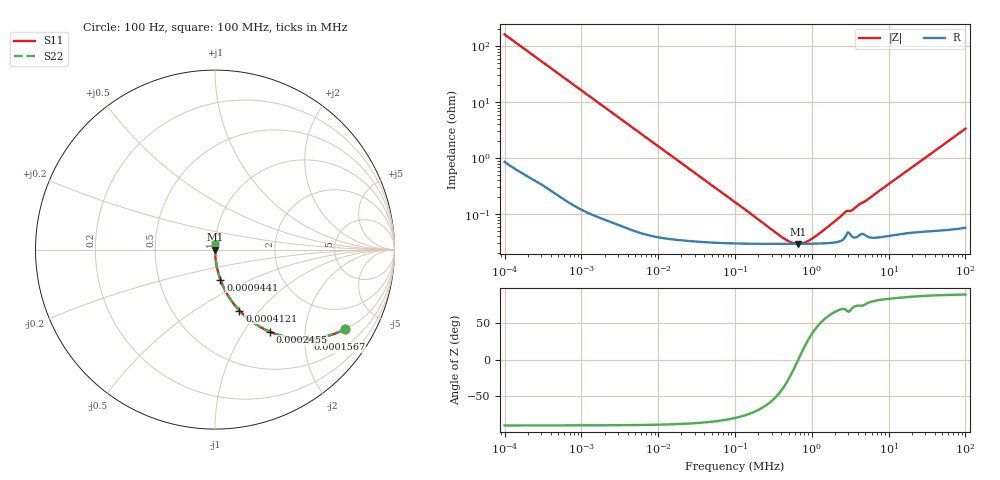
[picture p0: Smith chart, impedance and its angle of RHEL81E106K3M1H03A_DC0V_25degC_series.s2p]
!Murata Part Number: RHEL81E106K3M1H03A
!These Parameters are Measured in Series Mode Connection
!  o--ll--o
!Port1  Port2
!  o------o
!Operation Temp=25[degC], DC Bias Voltage=0[V]
!Freq. Start=100[Hz] Stop=100[MHz], 401[Steps]
!Data Generated on May 31, 2023
# Hz S RI R 50
!Freq.(Hz) S11(Real) S11(Imag) S21(Real) S21(Imag) S12(Real) S12(Imag) S22(Real) S22(Imag)
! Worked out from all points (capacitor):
!   401 points, 100 Hz to 100 MHz, reference 50 ohm
!   read as one part in series: C = 9.83 uF near 107.2 Hz
!   lowest |Z| = 29.5 mohm at 668.3 kHz (marker M1)
!   series resonance near 665.8 kHz, so ESL is about 5.8 nH
!   S11 on the Smith chart (normalised r, x): 100 Hz: 1.02, -3.24; 156.7 Hz: 1.01, -2.07; 245.5 Hz: 1.01, -1.32; 412.1 Hz: 1.01, -0.79; 944.1 Hz: 1.00, -0.35; 100 MHz: 1.00, +0.07
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100  0.7226 -0.4451  0.2774 0.4451  0.2774 0.4451  0.7226 -0.4451
156.6751  0.5167 -0.497  0.4833 0.497  0.4833 0.497  0.5167 -0.497
192.7525  0.4148 -0.4898  0.5852 0.4898  0.5852 0.4898  0.4148 -0.4898
245.4709  0.3052 -0.4575  0.6948 0.4575  0.6948 0.4575  0.3052 -0.4575
312.6079  0.214 -0.407  0.786 0.407  0.786 0.407  0.214 -0.407
412.0975  0.1363 -0.3399  0.8637 0.3399  0.8637 0.3399  0.1363 -0.3399
602.5596  0.0695 -0.251  0.9305 0.251  0.9305 0.251  0.0695 -0.251
944.0609  0.0301 -0.1673  0.9699 0.1673  0.9699 0.1673  0.0301 -0.1673
1011.579  0.0264 -0.1568  0.9736 0.1568  0.9736 0.1568  0.0264 -0.1568
2660.725  0.00445 -0.0612  0.9956 0.0612  0.9956 0.0612  0.00445 -0.0612
10232.93  0.000642 -0.0161  0.9994 0.0161  0.9994 0.0161  0.000642 -0.0161
100000  0.000303 -0.00162  0.9997 0.00162  0.9997 0.00162  0.000303 -0.00162
426579.5  0.000294 -0.00023  0.9997 0.00023  0.9997 0.00023  0.000294 -0.00023
543250.3  0.000295 -0.000102  0.9997 0.000102  0.9997 0.000102  0.000295 -0.000102
668343.9  0.000295 1.91e-06  0.9997 -1.91e-06  0.9997 -1.91e-06  0.000295 1.91e-06
822242.6  0.000296 0.000106  0.9997 -0.000106  0.9997 -0.000106  0.000296 0.000106
1011579  0.000297 0.000216  0.9997 -0.000216  0.9997 -0.000216  0.000297 0.000216
1640590  0.000305 0.00052  0.9997 -0.00052  0.9997 -0.00052  0.000305 0.00052
2754229  0.000402 0.00102  0.9996 -0.00102  0.9996 -0.00102  0.000402 0.00102
3388442  0.000394 0.00113  0.9996 -0.00113  0.9996 -0.00113  0.000394 0.00113
1.023293e7  0.000423 0.0035  0.9996 -0.0035  0.9996 -0.0035  0.000423 0.0035
1e8  0.0017 0.0335  0.9983 -0.0335  0.9983 -0.0335  0.0017 0.0335
